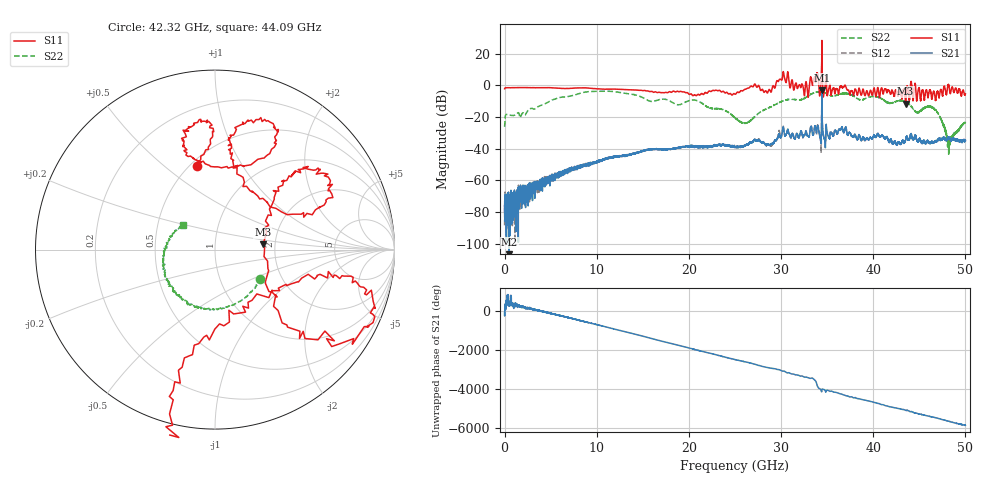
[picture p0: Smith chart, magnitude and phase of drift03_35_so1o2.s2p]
!Created with skrf (http://scikit-rf.org).
# Hz S RI R 50.0
!freq ReS11 ImS11 ReS21 ImS21 ReS12 ImS12 ReS22 ImS22
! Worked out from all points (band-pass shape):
!   10000 points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, 5.3 MHz to 50 GHz, reference 50 ohm
!   highest |S21| = -2.93 dB at 34.43 GHz (marker M1); lowest = -107.2 dB at 500.3 MHz (marker M2)
!   |S21| within 3 dB of the highest: 34.42746 GHz to 34.43501 GHz (7.557 MHz wide, 0.0219 % of centre)
!   lowest |S11| = -11.4 dB at 43.52 GHz (marker M3), VSWR 1.73, Z = 86.1 + j5.48 ohm
!   |S11| at or under -10 dB: 43.49237 GHz to 43.54212 GHz (49.75 MHz wide, 0.114 % of centre)
!   |S22| runs from -44.2 to -3.6 dB; largest |S21 - S12| = 0.23
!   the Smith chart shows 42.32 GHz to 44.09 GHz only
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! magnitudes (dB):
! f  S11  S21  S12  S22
! 5.3 MHz  -2.1  -76.1  -88.4  -26.1
! 500.3 MHz  -1.4  -107.2  -91.3  -18.6
! 2.15 GHz  -1.3  -66.9  -71.0  -18.4
! 8.34 GHz  -1.5  -50.8  -51.2  -4.7
! 16.67 GHz  -4.4  -40.2  -40.2  -9.1
! 20.72 GHz  -6.2  -38.0  -38.3  -9.3
! 25.01 GHz  -5.5  -38.7  -39.0  -20.4
! 26.24 GHz  -2.2  -37.7  -37.4  -23.7
! 28.72 GHz  -2.5  -37.6  -37.6  -14.0
! 30.14 GHz  4.4  -29.3  -29.6  -9.9
! 32.74 GHz  2.0  -29.7  -29.2  -7.4
! 33.34 GHz  2.5  -27.6  -27.7  -5.3
! 33.82 GHz  4.0  -29.2  -29.4  -4.2
! 34.43 GHz  28.4  -2.9  -5.0  -4.0
! 36.49 GHz  -0.2  -27.8  -27.9  -5.4
! 38.88 GHz  -2.3  -32.7  -32.6  -8.9
! 41.67 GHz  -2.9  -35.6  -35.5  -11.1
! 43.52 GHz  -11.4  -34.7  -34.7  -10.5
! 44.74 GHz  -9.5  -34.3  -34.8  -17.1
! 46.65 GHz  -4.8  -35.9  -35.7  -14.6
! 48.22 GHz  -0.7  -33.1  -33.1  -36.1
! 50 GHz  -5.3  -34.7  -35.3  -23.4
